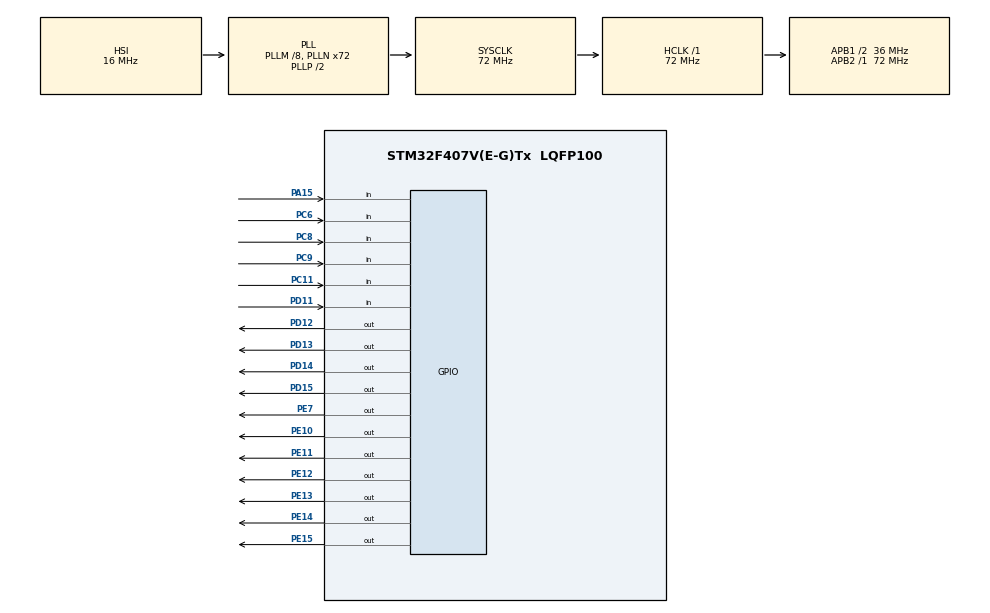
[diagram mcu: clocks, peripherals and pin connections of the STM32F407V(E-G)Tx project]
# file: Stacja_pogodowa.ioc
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Mcu.Family=STM32F4
Mcu.Name=STM32F407V(E-G)Tx
Mcu.Package=LQFP100
NVIC.PriorityGroup=NVIC_PRIORITYGROUP_4
PA15.Signal=GPIO_Input
PC11.Signal=GPIO_Input
PC6.Signal=GPIO_Input
PC8.Signal=GPIO_Input
PC9.Signal=GPIO_Input
PD11.Signal=GPIO_Input
PD12.Signal=GPIO_Output
PD13.Signal=GPIO_Output
PD14.Signal=GPIO_Output
PD15.Signal=GPIO_Output
PE10.Signal=GPIO_Output
PE11.Signal=GPIO_Output
PE12.Signal=GPIO_Output
PE13.Signal=GPIO_Output
PE14.Signal=GPIO_Output
PE15.Signal=GPIO_Output
PE7.Signal=GPIO_Output
PH0-OSC_IN.Mode=HSE-External-Oscillator
PH0-OSC_IN.Signal=RCC_OSC_IN
PH1-OSC_OUT.Mode=HSE-External-Oscillator
PH1-OSC_OUT.Signal=RCC_OSC_OUT
ProjectManager.HeapSize=0x200
ProjectManager.StackSize=0x400
ProjectManager.TargetToolchain=STM32CubeIDE
RCC.48MHZClocksFreq_Value=36000000
RCC.AHBFreq_Value=72000000
RCC.APB1CLKDivider=RCC_HCLK_DIV2
RCC.APB1Freq_Value=36000000
RCC.APB1TimFreq_Value=72000000
RCC.APB2Freq_Value=72000000
RCC.APB2TimFreq_Value=72000000
RCC.CortexFreq_Value=72000000
RCC.HCLKFreq_Value=72000000
RCC.HSE_VALUE=8000000
RCC.HSI_VALUE=16000000
RCC.LSE_VALUE=32768
RCC.PLLM=8
RCC.PLLN=72
RCC.SYSCLKFreq_VALUE=72000000
RCC.SYSCLKSource=RCC_SYSCLKSOURCE_PLLCLK
RCC.VCOOutputFreq_Value=144000000
VP_RTC_VS_RTC_Activate.Mode=RTC_Enabled
VP_RTC_VS_RTC_Calendar.Mode=RTC_Calendar
board=custom

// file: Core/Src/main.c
/* USER CODE BEGIN Header */
/**
  ******************************************************************************
  * @file           : main.c
  * @brief          : Main program body
  ******************************************************************************
  * @attention
  *
  * Copyright (c) 2023 STMicroelectronics.
  * All rights reserved.
  *
  * This software is licensed under terms that can be found in the LICENSE file
  * in the root directory of this software component.
  * If no LICENSE file comes with this software, it is provided AS-IS.
  *
  ******************************************************************************
  */
/* USER CODE END Header */
#include "main.h"

/* USER CODE BEGIN Includes */
#include "lcd16x2.h"
#include "stdio.h"
#include "time.h"
#include "string.h"
#include "unistd.h"
#include "DHT.h"
#include "menu.h"
#include "functionalities.h"
/* USER CODE END Includes */

RTC_HandleTypeDef hrtc;

void SystemClock_Config(void);
static void MX_GPIO_Init(void);
static void MX_RTC_Init(void);

/* USER CODE BEGIN 0 */
RTC_HandleTypeDef hrtc;
DHT_DataTypedef DHT11_Data;
RTC_TimeTypeDef sTime = {0};
RTC_DateTypeDef sDate = {0};
/* USER CODE END 0 */

int main(void)
{
  /* USER CODE BEGIN 1 */
	const int numOfOptions = 8;
	float alarmTemp = 0;
	float alarmHum = 0;
	int state = 1;
	int position = 0;
	int alarmCounter = 0;
	bool alarmSet = false; // zmienna odpowiedzialna za aktywacje lub dezaktywacje alarmu     \ OBIE ZMIENNE REPREZENTUJĄ
	bool alarmState = false; // zmienna pomocna która ustawia cały program w statusie alarmu  / CO INNEGO, NIE MYLIĆ ICH!
	struct option options[numOfOptions];
	struct history alarmHistory[20];
  /* USER CODE END 1 */

  /* MCU Configuration--------------------------------------------------------*/

  /* Reset of all peripherals, Initializes the Flash interface and the Systick. */
  HAL_Init();

  /* USER CODE BEGIN Init */
  lcd16x2_init_4bits(GPIOE, GPIO_PIN_7, GPIO_PIN_11, GPIOE, GPIO_PIN_12, GPIO_PIN_13, GPIO_PIN_14, GPIO_PIN_15);
  initMenu(options);
  /* USER CODE END Init */

  /* Configure the system clock */
  SystemClock_Config();

  /* Initialize all configured peripherals */
  MX_GPIO_Init();
  MX_RTC_Init();

  /* Infinite loop */
  /* USER CODE BEGIN WHILE */
  while (1)
  {
	  DHT_GetData(&DHT11_Data);
	  HAL_RTC_GetTime(&hrtc, &sTime, RTC_FORMAT_BIN);
	  HAL_RTC_GetDate(&hrtc, &sDate, RTC_FORMAT_BIN);

	  if(alarmState) alarmState = checkAlarm(&DHT11_Data, alarmTemp, alarmHum, true);
	  else
	  {
		  if(alarmSet)
			  if(checkAlarm(&DHT11_Data, alarmTemp, alarmHum, false))
			  {
				  alarmState = true;
				  if(alarmCounter<20)
				  {
					  alarmHistory[alarmCounter].hTime = sTime;
				  	  alarmCounter++;
				  }
				  state = 1;
			  }
	  }
    /* USER CODE END WHILE */

    /* USER CODE BEGIN 3 */
	switch(state)
	{
	  case 0: // Stan bezczyności
	  {
		  state = action(numOfOptions, &position);
		  break;
	  }
	  case 1: // Wyświetlenie menu
	  {
		  showMenu(numOfOptions, position, options);
		  state = 0;
		  break;
	  }
	  case 2: // Wyświetlenie temperatury oraz wilogtoności
	  {
		  showTempAndHum(&DHT11_Data);
		  state = checkIfBack(state);
		  break;
	  }
	  case 3: // Wyświetlenie czasu oraz daty
	  {
		  showTimeAndDate(sDate, sTime);
		  state = checkIfBack(state);
		  break;
	  }
	  case 4: // Wyświetlenie alarmu
	  {
		  showAlarm(alarmTemp, alarmHum, alarmSet);
		  state=checkIfBack(state);
		  break;
	  }
	  case 5: // Ustawienie czasu
	  {
		  setTime(&hrtc, &sTime);
		  state=1;
		  break;
	  }
	  case 6: // Ustawienie daty
	  {
		  setDate(&hrtc, &sDate);
		  state=1;
		  break;
	  }
	  case 7: // Ustawienie alarmu
	  {
		  setAlarm(&alarmTemp, &alarmHum, &alarmSet);
		  state=1;
		  break;
	  }
	  case 8: // Wyświetlenie historii
	  {
		  showHistory(alarmHistory, alarmCounter);
		  state=1;
		  break;
	  }
	  case 9: // Wyczyszczenie historii
	  {
		  alarmCounter = 0;
		  lcd16x2_clear();
		  lcd16x2_printf("History cleared!");
		  w
		  state=1;
		  break;
	  }
	  default:
	  {
	  	  lcd16x2_clear();
	  	  lcd16x2_printf("NO FUNCTION");
	  	  HAL_Delay(1000);
	  	  state=1;
	  	  break;
	  }
    }
	HAL_Delay(100); // Czasowy bufor przy zmianach statusów
  }
  /* USER CODE END 3 */
}

void SystemClock_Config(void)
{
  RCC_OscInitTypeDef RCC_OscInitStruct = {0};
  RCC_ClkInitTypeDef RCC_ClkInitStruct = {0};

  /** Configure the main internal regulator output voltage
  */
  __HAL_RCC_PWR_CLK_ENABLE();
  __HAL_PWR_VOLTAGESCALING_CONFIG(PWR_REGULATOR_VOLTAGE_SCALE1);

  /** Initializes the RCC Oscillators according to the specified parameters
  * in the RCC_OscInitTypeDef structure.
  */
  RCC_OscInitStruct.OscillatorType = RCC_OSCILLATORTYPE_HSI|RCC_OSCILLATORTYPE_LSI;
  RCC_OscInitStruct.HSIState = RCC_HSI_ON;
  RCC_OscInitStruct.HSICalibrationValue = RCC_HSICALIBRATION_DEFAULT;
  RCC_OscInitStruct.LSIState = RCC_LSI_ON;
  RCC_OscInitStruct.PLL.PLLState = RCC_PLL_ON;
  RCC_OscInitStruct.PLL.PLLSource = RCC_PLLSOURCE_HSI;
  RCC_OscInitStruct.PLL.PLLM = 8;
  RCC_OscInitStruct.PLL.PLLN = 72;
  RCC_OscInitStruct.PLL.PLLP = RCC_PLLP_DIV2;
  RCC_OscInitStruct.PLL.PLLQ = 4;
  if (HAL_RCC_OscConfig(&RCC_OscInitStruct) != HAL_OK)
  {
    Error_Handler();
  }

  /** Initializes the CPU, AHB and APB buses clocks
  */
  RCC_ClkInitStruct.ClockType = RCC_CLOCKTYPE_HCLK|RCC_CLOCKTYPE_SYSCLK
                              |RCC_CLOCKTYPE_PCLK1|RCC_CLOCKTYPE_PCLK2;
  RCC_ClkInitStruct.SYSCLKSource = RCC_SYSCLKSOURCE_PLLCLK;
  RCC_ClkInitStruct.AHBCLKDivider = RCC_SYSCLK_DIV1;
  RCC_ClkInitStruct.APB1CLKDivider = RCC_HCLK_DIV2;
  RCC_ClkInitStruct.APB2CLKDivider = RCC_HCLK_DIV1;

  if (HAL_RCC_ClockConfig(&RCC_ClkInitStruct, FLASH_LATENCY_2) != HAL_OK)
  {
    Error_Handler();
  }
}

static void MX_RTC_Init(void)
{

  RTC_TimeTypeDef sTime = {0};
  RTC_DateTypeDef sDate = {0};

  /** Initialize RTC Only
  */
  hrtc.Instance = RTC;
  hrtc.Init.HourFormat = RTC_HOURFORMAT_24;
  hrtc.Init.AsynchPrediv = 127;
  hrtc.Init.SynchPrediv = 255;
  hrtc.Init.OutPut = RTC_OUTPUT_DISABLE;
  hrtc.Init.OutPutPolarity = RTC_OUTPUT_POLARITY_HIGH;
  hrtc.Init.OutPutType = RTC_OUTPUT_TYPE_OPENDRAIN;
  if (HAL_RTC_Init(&hrtc) != HAL_OK)
  {
    Error_Handler();
  }

  /** Initialize RTC and set the Time and Date
  */
  sTime.Hours = 0x0;
  sTime.Minutes = 0x0;
  sTime.Seconds = 0x0;
  sTime.DayLightSaving = RTC_DAYLIGHTSAVING_NONE;
  sTime.StoreOperation = RTC_STOREOPERATION_RESET;
  if (HAL_RTC_SetTime(&hrtc, &sTime, RTC_FORMAT_BCD) != HAL_OK)
  {
    Error_Handler();
  }
  sDate.WeekDay = RTC_WEEKDAY_MONDAY;
  sDate.Month = RTC_MONTH_JANUARY;
  sDate.Date = 0x1;
  sDate.Year = 0x0;

  if (HAL_RTC_SetDate(&hrtc, &sDate, RTC_FORMAT_BCD) != HAL_OK)
  {
    Error_Handler();
  }

}

static void MX_GPIO_Init(void)
{
  GPIO_InitTypeDef GPIO_InitStruct = {0};

  /* GPIO Ports Clock Enable */
  __HAL_RCC_GPIOH_CLK_ENABLE();
  __HAL_RCC_GPIOE_CLK_ENABLE();
  __HAL_RCC_GPIOD_CLK_ENABLE();
  __HAL_RCC_GPIOC_CLK_ENABLE();
  __HAL_RCC_GPIOA_CLK_ENABLE();

  /*Configure GPIO pin Output Level */
  HAL_GPIO_WritePin(GPIOE, GPIO_PIN_7|GPIO_PIN_10|GPIO_PIN_11|GPIO_PIN_12
                          |GPIO_PIN_13|GPIO_PIN_14|GPIO_PIN_15, GPIO_PIN_RESET);

  /*Configure GPIO pin Output Level */
  HAL_GPIO_WritePin(GPIOD, GPIO_PIN_12|GPIO_PIN_13|GPIO_PIN_14|GPIO_PIN_15, GPIO_PIN_RESET);

  /*Configure GPIO pins : PE7 PE10 PE11 PE12
                           PE13 PE14 PE15 */
  GPIO_InitStruct.Pin = GPIO_PIN_7|GPIO_PIN_10|GPIO_PIN_11|GPIO_PIN_12
                          |GPIO_PIN_13|GPIO_PIN_14|GPIO_PIN_15;
  GPIO_InitStruct.Mode = GPIO_MODE_OUTPUT_PP;
  GPIO_InitStruct.Pull = GPIO_NOPULL;
  GPIO_InitStruct.Speed = GPIO_SPEED_FREQ_LOW;
  HAL_GPIO_Init(GPIOE, &GPIO_InitStruct);

  /*Configure GPIO pin : PD11 */
  GPIO_InitStruct.Pin = GPIO_PIN_11;
  GPIO_InitStruct.Mode = GPIO_MODE_INPUT;
  GPIO_InitStruct.Pull = GPIO_NOPULL;
  HAL_GPIO_Init(GPIOD, &GPIO_InitStruct);

  /*Configure GPIO pins : PD12 PD13 PD14 PD15 */
  GPIO_InitStruct.Pin = GPIO_PIN_12|GPIO_PIN_13|GPIO_PIN_14|GPIO_PIN_15;
  GPIO_InitStruct.Mode = GPIO_MODE_OUTPUT_PP;
  GPIO_InitStruct.Pull = GPIO_NOPULL;
  GPIO_InitStruct.Speed = GPIO_SPEED_FREQ_LOW;
  HAL_GPIO_Init(GPIOD, &GPIO_InitStruct);

  /*Configure GPIO pins : PC6 PC8 PC9 PC11 */
  GPIO_InitStruct.Pin = GPIO_PIN_6|GPIO_PIN_8|GPIO_PIN_9|GPIO_PIN_11;
  GPIO_InitStruct.Mode = GPIO_MODE_INPUT;
  GPIO_InitStruct.Pull = GPIO_NOPULL;
  HAL_GPIO_Init(GPIOC, &GPIO_InitStruct);

  /*Configure GPIO pin : PA15 */
  GPIO_InitStruct.Pin = GPIO_PIN_15;
  GPIO_InitStruct.Mode = GPIO_MODE_INPUT;
  GPIO_InitStruct.Pull = GPIO_NOPULL;
  HAL_GPIO_Init(GPIOA, &GPIO_InitStruct);

/* USER CODE BEGIN MX_GPIO_Init_2 */
  HAL_NVIC_SetPriority(EXTI9_5_IRQn, 0, 0);
  HAL_NVIC_EnableIRQ(EXTI9_5_IRQn);
/* USER CODE END MX_GPIO_Init_2 */
}

void Error_Handler(void)
{
  __disable_irq();
  while (1)
  {
  }
}
